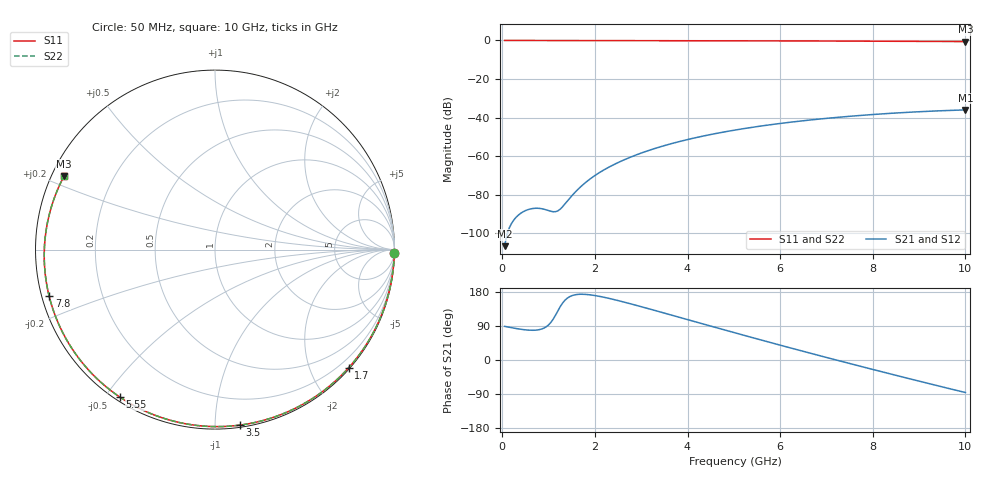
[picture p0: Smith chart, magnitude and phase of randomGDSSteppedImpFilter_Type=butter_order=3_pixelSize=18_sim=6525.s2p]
! freq	dB(S11)	phase(S11)	dB(S12)	phase(S12)
!  dB(S21)	phase(S21)	dB(S22)	phase(S22)
!S-par simulation data
#  GHz  S  DB  R 50
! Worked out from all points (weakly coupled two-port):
!   200 points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, 50 MHz to 10 GHz, reference 50 ohm
!   highest |S21| = -36.01 dB at 10 GHz (marker M1); lowest = -106.7 dB at 50 MHz (marker M2)
!   lowest |S11| = -0.6 dB at 10 GHz (marker M3), VSWR 30.00, Z = 1.75 + j11.5 ohm
!   |S11| at or under -10 dB: nowhere
!   |S22| runs from -0.6 to 0.0 dB; largest |S21 - S12| = 0
!   S11 on the Smith chart (normalised r, x): 50 MHz: 1, -94; 1.7 GHz: 0.02, -2.64; 3.5 GHz: 0.01, -1.15; 5.55 GHz: 0.01, -0.54; 7.8 GHz: 0.02, -0.14; 10 GHz: 0.04, +0.23
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0.05  -0.00 -1.2  -106.66 88.8  -106.66 88.8  -0.00 -1.2
0.4  -0.02 -9.9  -89.57 81.1  -89.57 81.1  -0.02 -9.9
0.75  -0.02 -18.6  -87.00 79.1  -87.00 79.1  -0.02 -18.6
1.5  -0.05 -36.8  -80.59 169.6  -80.59 169.6  -0.05 -36.8
1.55  -0.05 -38.0  -79.26 171.5  -79.26 171.5  -0.05 -38.0
1.7  -0.05 -41.5  -75.69 173.5  -75.69 173.5  -0.05 -41.5
1.75  -0.05 -42.7  -74.62 173.5  -74.62 173.5  -0.05 -42.7
2.05  -0.06 -49.7  -69.24 169.1  -69.24 169.1  -0.06 -49.7
2.45  -0.07 -58.9  -63.88 158.4  -63.88 158.4  -0.07 -58.9
2.9  -0.09 -69.0  -59.26 144.0  -59.26 144.0  -0.09 -69.0
3.4  -0.10 -79.8  -55.23 127.2  -55.23 127.2  -0.10 -79.8
3.5  -0.11 -82.0  -54.52 123.8  -54.52 123.8  -0.11 -82.0
4.25  -0.13 -97.5  -50.02 98.0  -50.02 98.0  -0.13 -97.5
5.05  -0.17 -113.3  -46.35 70.8  -46.35 70.8  -0.17 -113.3
5.55  -0.20 -122.9  -44.49 54.0  -44.49 54.0  -0.20 -122.9
6.15  -0.23 -134.1  -42.59 34.2  -42.59 34.2  -0.23 -134.1
6.7  -0.27 -144.2  -41.11 16.3  -41.11 16.3  -0.27 -144.2
7.25  -0.31 -154.2  -39.84 -1.3  -39.84 -1.3  -0.31 -154.2
7.8  -0.36 -164.3  -38.75 -18.7  -38.75 -18.7  -0.36 -164.3
8.35  -0.41 -174.4  -37.84 -35.8  -37.84 -35.8  -0.41 -174.4
9.2  -0.49 169.7  -36.72 -61.9  -36.72 -61.9  -0.49 169.7
10  -0.58 154.1  -36.01 -85.8  -36.01 -85.8  -0.58 154.1
